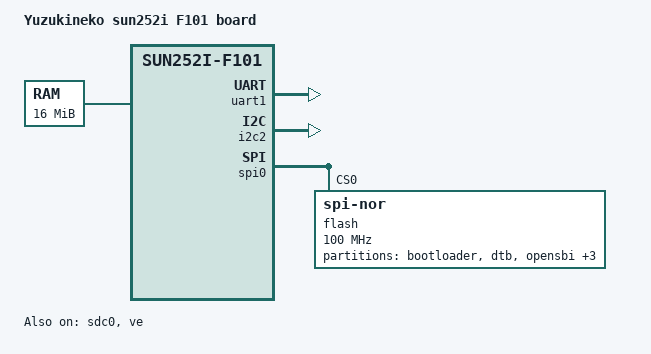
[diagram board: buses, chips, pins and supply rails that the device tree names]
// SPDX-License-Identifier: GPL-2.0-only OR MIT
/dts-v1/;

#include "sun252i-f101.dtsi"

/ {
	model = "Yuzukineko sun252i F101 board";
	compatible = "allwinner,sun252i-f101-yuzukineko", "allwinner,sun252i-f101";

	chosen {
		bootargs = "console=ttyS1,115200n8 earlycon=uart8250,mmio32,0x02500400 loglevel=8 printk.time=1 root=/dev/mtdblock4 rootfstype=squashfs ro";
		stdout-path = "serial1:115200n8";
	};

	memory@40000000 {
		device_type = "memory";
		reg = <0x0 0x40000000 0x0 0x01000000>;
	};
};

&uart1 {
	pinctrl-names = "default";
	pinctrl-0 = <&uart1_pb_pins>;
	status = "okay";
};

&i2c2 {
	pinctrl-names = "default";
	pinctrl-0 = <&i2c2_pb2_pins>;
	status = "okay";
};

&sdc0 {
	status = "okay";
};

&ve {
	status = "okay";
};

&spi0 {
	pinctrl-names = "default";
	pinctrl-0 = <&spi0_pc_pins>;
	status = "okay";

	flash@0 {
		compatible = "jedec,spi-nor";
		reg = <0>;
		spi-max-frequency = <100000000>;
		spi-rx-bus-width = <1>;
		spi-tx-bus-width = <1>;

		/*
		 * 16 MiB NOR layout. Keep in sync with the SyterKit spinor-boot
		 * reader and the Buildroot post-image-nor.sh image builder.
		 *	0x000000 bootloader (SyterKit, 64 KiB)
		 *	0x010000 device tree (256 KiB)
		 *	0x050000 fw_jump     (OpenSBI, 512 KiB)
		 *	0x0d0000 kernel Image (6 MiB)
		 *	0x6d0000 rootfs squashfs (to 0xf00000)
		 *	0xf00000 overlay JFFS2 (last 1 MiB)
		 */
		partitions {
			compatible = "fixed-partitions";
			#address-cells = <1>;
			#size-cells = <1>;

			bootloader@0 {
				label = "bootloader";
				reg = <0x000000 0x010000>;
				read-only;
			};

			dtb@10000 {
				label = "dtb";
				reg = <0x010000 0x040000>;
				read-only;
			};

			opensbi@50000 {
				label = "opensbi";
				reg = <0x050000 0x080000>;
				read-only;
			};

			kernel@d0000 {
				label = "kernel";
				reg = <0x0d0000 0x600000>;
				read-only;
			};

			rootfs@6d0000 {
				label = "rootfs";
				reg = <0x6d0000 0x830000>;
				read-only;
			};

			overlay@f00000 {
				label = "overlay";
				reg = <0xf00000 0x100000>;
			};
		};
	};
};
